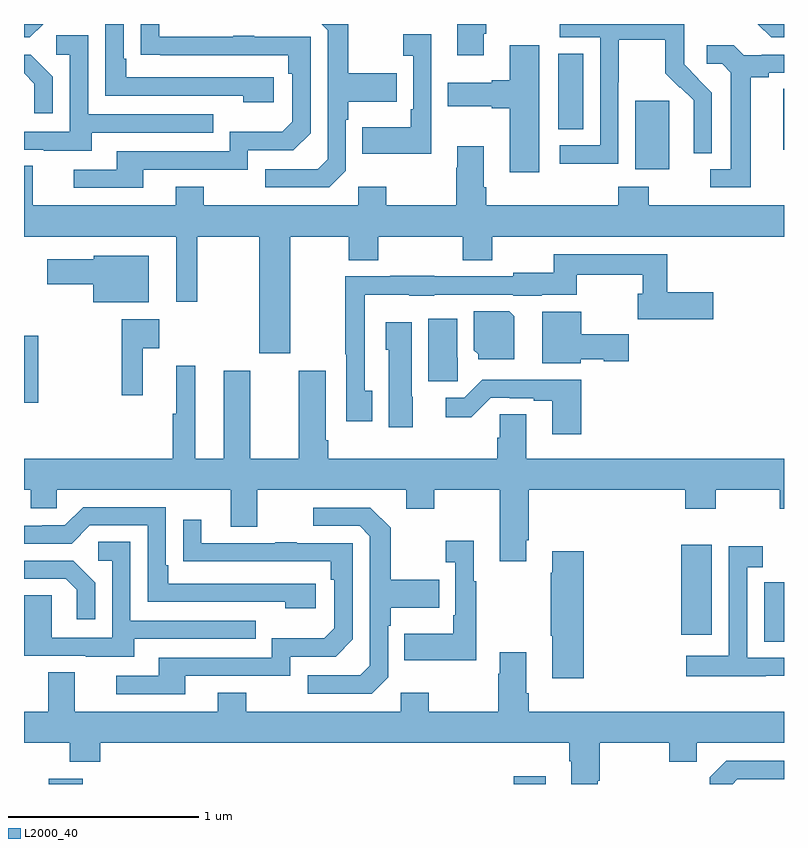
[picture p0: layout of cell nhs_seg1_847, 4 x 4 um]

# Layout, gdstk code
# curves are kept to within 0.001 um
import gdstk
lib = gdstk.Library(unit=1e-6, precision=1e-09)
def R(c, l, rs):  # rectangles x0, y0, x1, y1
    for r in rs: c.add(gdstk.rectangle(r[:2], r[2:], *l))
def P(c, l, *ps):  # polygons
    for p in ps: c.add(gdstk.Polygon(p, *l))
L2000_40 = (2000, 40)

nhs_seg1_847 = lib.new_cell('nhs_seg1_847')
R(nhs_seg1_847, L2000_40, [(157.13,534.199,157.309,534.226), (159.578,534.199,159.745,534.241), (160.895,534.949,161,535.26), (160.46,534.984,160.621,535.459), (157,536.205,157.074,536.557), (160.217,537.434,160.396,537.795), (160.997,537.537,161,537.857), (159.812,537.646,159.943,538.043)])
P(nhs_seg1_847, L2000_40, [(159.421,538.147),(159.434,538.147),(159.434,538.199),(159.281,538.199),(159.281,538.035),(159.421,538.035)],
  [(158.694,537.426),(158.694,537.695),(158.707,537.695),(158.707,537.791),(158.963,537.791),(158.963,537.939),(158.707,537.939),(158.707,538.199),(158.566,538.199),(158.598,538.167),(158.598,537.486),(158.547,537.435),(158.271,537.435),(158.271,537.339),(158.607,537.339)],
  [(158.314,537.918),(157.537,537.918),(157.537,538.015),(157.524,538.015),(157.524,538.199),(157.428,538.199),(157.428,537.822),(158.153,537.822),(158.153,537.788),(158.314,537.788)],
  [(157.1,538.199),(157,538.199),(157,538.128),(157.029,538.128)],
  [(161,538.199),(160.861,538.199),(160.932,538.128),(161,538.128)],
  [(160.128,537.892),(160.131,537.892),(160.131,538.116),(160.375,538.116),(160.375,537.941),(160.452,537.864),(160.455,537.867),(160.526,537.797),(160.526,537.674),(160.524,537.674),(160.524,537.52),(160.62,537.52),(160.62,537.838),(160.474,537.986),(160.474,538.083),(160.476,538.083),(160.476,538.199),(159.819,538.199),(159.819,538.128),(160.032,538.128),(160.032,537.561),(159.819,537.561),(159.819,537.463),(160.128,537.463)],
  [(157.627,537.432),(158.178,537.432),(158.178,537.534),(158.418,537.534),(158.508,537.624),(158.508,538.131),(158.213,538.131),(158.213,538.136),(158.101,538.136),(158.101,538.131),(157.711,538.131),(157.711,538.199),(157.615,538.199),(157.615,538.036),(158.392,538.035),(158.392,537.938),(158.412,537.938),(158.412,537.684),(158.359,537.631),(158.082,537.631),(158.082,537.528),(157.487,537.528),(157.487,537.432),(157.263,537.432),(157.263,537.336),(157.627,537.336)],
  [(159.144,538.144),(158.997,538.144),(158.997,538.031),(159.048,538.031),(159.048,537.751),(159.036,537.751),(159.036,537.655),(158.779,537.655),(158.779,537.515),(159.144,537.515)],
  [(157.357,537.627),(157.997,537.627),(157.997,537.723),(157.338,537.723),(157.338,538.139),(157.17,538.139),(157.17,538.038),(157.242,538.038),(157.242,537.633),(157,537.633),(157,537.537),(157.103,537.537),(157.103,537.533),(157.357,537.533)],
  [(160.825,537.92),(160.921,537.92),(160.921,537.942),(161,537.942),(161,538.038),(160.882,538.038),(160.882,538.035),(160.788,538.035),(160.736,538.087),(160.593,538.087),(160.593,537.99),(160.674,537.99),(160.721,537.943),(160.721,537.435),(160.611,537.435),(160.611,537.339),(160.825,537.339)],
  [(159.712,538.087),(159.557,538.087),(159.557,537.902),(159.461,537.902),(159.461,537.889),(159.231,537.889),(159.231,537.767),(159.461,537.767),(159.461,537.755),(159.557,537.755),(159.557,537.42),(159.712,537.42)],
  [(157.152,537.922),(157.036,538.038),(157,538.038),(157,537.94),(157.055,537.885),(157.055,537.729),(157.152,537.729)],
  [(158.401,537.08),(158.71,537.08),(158.71,536.956),(158.865,536.956),(158.865,537.08),(159.31,537.08),(159.31,536.956),(159.465,536.956),(159.465,537.08),(161,537.08),(161,537.244),(160.287,537.244),(160.287,537.343),(160.127,537.343),(160.127,537.244),(159.434,537.244),(159.434,537.34),(159.421,537.34),(159.421,537.556),(159.281,537.556),(159.281,537.443),(159.274,537.443),(159.274,537.244),(158.907,537.244),(158.907,537.343),(158.76,537.343),(158.76,537.244),(157.947,537.244),(157.947,537.343),(157.799,537.343),(157.799,537.244),(157.045,537.244),(157.045,537.452),(157,537.452),(157,537.08),(157.802,537.08),(157.802,536.736),(157.912,536.736),(157.912,537.08),(158.237,537.08),(158.237,536.466),(158.401,536.466)],
  [(158.833,536.27),(158.793,536.27),(158.793,536.774),(159.027,536.774),(159.027,536.768),(159.159,536.768),(159.159,536.775),(159.576,536.775),(159.576,536.768),(159.726,536.768),(159.726,536.774),(159.91,536.774),(159.91,536.88),(160.257,536.88),(160.257,536.779),(160.231,536.779),(160.231,536.645),(160.627,536.645),(160.627,536.787),(160.385,536.787),(160.385,536.988),(159.789,536.988),(159.789,536.89),(159.576,536.89),(159.576,536.871),(159.159,536.871),(159.159,536.873),(158.927,536.873),(158.927,536.871),(158.692,536.871),(158.692,536.461),(158.697,536.461),(158.697,536.109),(158.833,536.109)],
  [(157.657,536.98),(157.368,536.98),(157.368,536.962),(157.122,536.962),(157.122,536.828),(157.364,536.828),(157.364,536.735),(157.657,536.735)],
  [(159.58,536.66),(159.554,536.686),(159.368,536.686),(159.368,536.482),(159.39,536.46),(159.39,536.435),(159.58,536.435)],
  [(159.93,536.435),(160.05,536.435),(160.05,536.423),(160.183,536.423),(160.183,536.565),(159.934,536.565),(159.934,536.684),(159.728,536.684),(159.728,536.414),(159.93,536.414)],
  [(159.284,536.442),(159.28,536.442),(159.28,536.647),(159.128,536.647),(159.128,536.319),(159.284,536.319)],
  [(157.625,536.492),(157.711,536.492),(157.711,536.644),(157.515,536.644),(157.515,536.244),(157.625,536.244)],
  [(159.046,536.238),(159.04,536.238),(159.04,536.629),(158.903,536.629),(158.903,536.484),(158.921,536.484),(158.921,536.076),(159.046,536.076)],
  [(159.643,535.483),(159.656,535.483),(159.656,535.748),(160.481,535.748),(160.481,535.649),(160.641,535.649),(160.641,535.748),(160.978,535.748),(160.978,535.649),(161,535.649),(161,535.912),(159.643,535.912),(159.643,536.144),(159.504,536.144),(159.504,536.022),(159.491,536.022),(159.491,535.912),(158.6,535.912),(158.6,536.008),(158.587,536.008),(158.587,536.374),(158.447,536.374),(158.447,535.912),(158.191,535.912),(158.191,536.374),(158.051,536.374),(158.051,535.912),(157.9,535.912),(157.9,536.401),(157.802,536.401),(157.802,536.148),(157.783,536.148),(157.783,535.912),(157,535.912),(157,535.748),(157.035,535.748),(157.035,535.65),(157.173,535.65),(157.173,535.748),(158.087,535.748),(158.087,535.554),(158.227,535.554),(158.227,535.748),(159.011,535.748),(159.011,535.649),(159.159,535.649),(159.159,535.748),(159.503,535.748),(159.503,535.371),(159.643,535.371)],
  [(159.932,536.326),(159.412,536.326),(159.318,536.232),(159.219,536.232),(159.219,536.13),(159.354,536.13),(159.456,536.232),(159.556,536.232),(159.556,536.229),(159.683,536.229),(159.683,536.217),(159.779,536.217),(159.779,536.04),(159.932,536.04)],
  [(158.536,535.254),(157.759,535.254),(157.759,535.351),(157.746,535.351),(157.746,535.656),(157.311,535.656),(157.215,535.56),(157.097,535.56),(157.097,535.557),(157,535.557),(157,535.464),(157.251,535.464),(157.347,535.56),(157.65,535.56),(157.65,535.158),(158.375,535.158),(158.375,535.124),(158.536,535.124)],
  [(158.916,534.762),(158.916,535.031),(158.929,535.031),(158.929,535.127),(159.185,535.127),(159.185,535.275),(158.929,535.275),(158.929,535.547),(158.823,535.653),(158.523,535.653),(158.523,535.557),(158.766,535.557),(158.82,535.503),(158.82,534.822),(158.769,534.771),(158.493,534.771),(158.493,534.675),(158.829,534.675)],
  [(157.849,534.768),(158.4,534.768),(158.4,534.87),(158.64,534.87),(158.73,534.96),(158.73,535.467),(158.435,535.467),(158.435,535.472),(158.323,535.472),(158.323,535.467),(157.933,535.467),(157.933,535.591),(157.837,535.591),(157.837,535.372),(158.614,535.371),(158.614,535.274),(158.634,535.274),(158.634,535.02),(158.581,534.967),(158.304,534.967),(158.304,534.864),(157.709,534.864),(157.709,534.768),(157.485,534.768),(157.485,534.672),(157.849,534.672)],
  [(159.379,535.267),(159.367,535.267),(159.367,535.48),(159.219,535.48),(159.219,535.367),(159.27,535.367),(159.27,535.087),(159.258,535.087),(159.258,534.991),(159.001,534.991),(159.001,534.851),(159.379,534.851)],
  [(157.579,534.963),(158.219,534.963),(158.219,535.059),(157.56,535.059),(157.56,535.475),(157.392,535.475),(157.392,535.374),(157.464,535.374),(157.464,534.969),(157.146,534.969),(157.146,535.193),(157.001,535.193),(157.001,534.873),(157.325,534.873),(157.325,534.869),(157.579,534.869)],
  [(160.903,534.768),(161,534.768),(161,534.864),(160.806,534.864),(160.806,535.341),(160.888,535.341),(160.888,535.45),(160.71,535.45),(160.71,534.874),(160.485,534.874),(160.485,534.767),(160.903,534.767)],
  [(159.947,535.423),(159.779,535.423),(159.779,535.31),(159.772,535.31),(159.772,534.979),(159.779,534.979),(159.779,534.756),(159.947,534.756)],
  [(157.374,535.258),(157.258,535.374),(157,535.374),(157,535.278),(157.22,535.278),(157.277,535.221),(157.277,535.065),(157.374,535.065)],
  [(160.021,534.217),(160.029,534.217),(160.029,534.416),(160.396,534.416),(160.396,534.317),(160.542,534.317),(160.542,534.416),(161,534.416),(161,534.58),(159.656,534.58),(159.656,534.676),(159.643,534.676),(159.643,534.892),(159.503,534.892),(159.503,534.779),(159.496,534.779),(159.496,534.58),(159.129,534.58),(159.129,534.679),(158.982,534.679),(158.982,534.58),(158.169,534.58),(158.169,534.679),(158.021,534.679),(158.021,534.58),(157.267,534.58),(157.267,534.788),(157.127,534.788),(157.127,534.58),(157,534.58),(157,534.416),(157.24,534.416),(157.24,534.317),(157.4,534.317),(157.4,534.416),(159.869,534.416),(159.869,534.32),(159.881,534.32),(159.881,534.199),(160.021,534.199)],
  [(160.755,534.225),(161,534.225),(161,534.321),(160.695,534.321),(160.608,534.234),(160.608,534.199),(160.729,534.199)])

lib.write_gds('nhs_seg1_847.gds')
